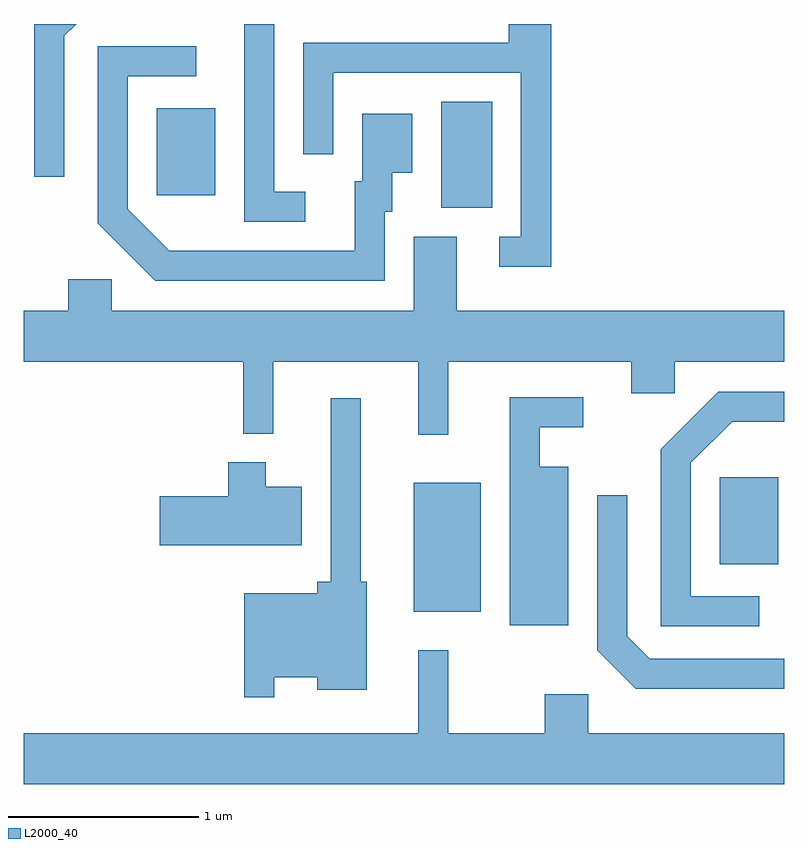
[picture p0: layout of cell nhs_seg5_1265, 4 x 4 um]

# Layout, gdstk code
import gdstk
lib = gdstk.Library(unit=1e-6, precision=1e-09)
def R(c, l, rs):  # rectangles x0, y0, x1, y1
    for r in rs: c.add(gdstk.rectangle(r[:2], r[2:], *l))
def P(c, l, *ps):  # polygons
    for p in ps: c.add(gdstk.Polygon(p, *l))
L2000_40 = (2000, 40)

nhs_seg5_1265 = lib.new_cell('nhs_seg5_1265')
R(nhs_seg5_1265, L2000_40, [(223.661,1510.981,224.014,1511.659), (225.271,1511.231,225.579,1511.689), (223.806,1513.106,224.074,1513.664), (222.311,1513.171,222.619,1513.629)])
P(nhs_seg5_1265, L2000_40, [(223.093,1513.189),(222.929,1513.189),(222.929,1514.072),(222.771,1514.072),(222.771,1513.031),(223.093,1513.031)],
  [(221.824,1514.009),(221.888,1514.072),(221.666,1514.072),(221.666,1513.268),(221.824,1513.268)],
  [(224.384,1514.072),(224.161,1514.072),(224.161,1513.974),(223.081,1513.974),(223.081,1513.388),(223.239,1513.388),(223.239,1513.816),(224.226,1513.816),(224.226,1512.954),(224.113,1512.954),(224.113,1512.796),(224.384,1512.796)],
  [(223.509,1513.086),(223.549,1513.086),(223.549,1513.291),(223.654,1513.291),(223.654,1513.599),(223.391,1513.599),(223.391,1513.244),(223.351,1513.244),(223.351,1512.879),(222.377,1512.879),(222.159,1513.097),(222.159,1513.796),(222.518,1513.796),(222.518,1513.954),(222.001,1513.954),(222.001,1513.024),(222.304,1512.721),(223.509,1512.721)],
  [(223.844,1512.296),(224.806,1512.296),(224.806,1512.131),(225.034,1512.131),(225.034,1512.296),(225.611,1512.296),(225.611,1512.564),(223.889,1512.564),(223.889,1512.954),(223.661,1512.954),(223.661,1512.564),(222.074,1512.564),(222.074,1512.729),(221.846,1512.729),(221.846,1512.564),(221.611,1512.564),(221.611,1512.296),(222.766,1512.296),(222.766,1511.918),(222.924,1511.918),(222.924,1512.296),(223.686,1512.296),(223.686,1511.913),(223.844,1511.913)],
  [(225.478,1511.064),(225.119,1511.064),(225.119,1511.764),(225.337,1511.981),(225.611,1511.981),(225.611,1512.139),(225.264,1512.139),(224.961,1511.837),(224.961,1510.906),(225.478,1510.906)],
  [(224.474,1511.744),(224.324,1511.744),(224.324,1511.951),(224.553,1511.951),(224.553,1512.109),(224.166,1512.109),(224.166,1510.911),(224.474,1510.911)],
  [(222.929,1510.636),(223.156,1510.636),(223.156,1510.571),(223.414,1510.571),(223.414,1511.139),(223.384,1511.139),(223.384,1512.103),(223.226,1512.103),(223.226,1511.139),(223.156,1511.139),(223.156,1511.079),(222.771,1511.079),(222.771,1510.533),(222.929,1510.533)],
  [(223.074,1511.639),(222.884,1511.639),(222.884,1511.769),(222.686,1511.769),(222.686,1511.589),(222.326,1511.589),(222.326,1511.331),(223.074,1511.331)],
  [(225.611,1510.734),(224.902,1510.734),(224.784,1510.852),(224.784,1511.593),(224.626,1511.593),(224.626,1510.779),(224.829,1510.576),(225.611,1510.576)],
  [(225.611,1510.344),(224.579,1510.344),(224.579,1510.549),(224.351,1510.549),(224.351,1510.344),(223.844,1510.344),(223.844,1510.778),(223.686,1510.778),(223.686,1510.344),(221.611,1510.344),(221.611,1510.076),(225.611,1510.076)])

lib.write_gds('nhs_seg5_1265.gds')
